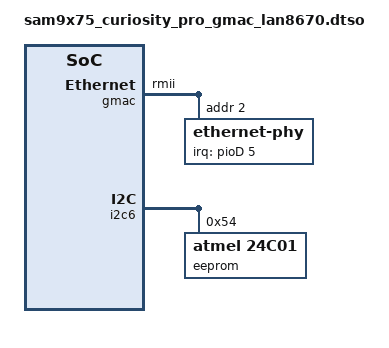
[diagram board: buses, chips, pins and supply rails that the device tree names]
// SPDX-License-Identifier: (GPL-2.0+ OR MIT)
/*
 * Device Tree file for SAM9X75 CURIOSITY PRO board overlay for the LAN8670
 * 10BaseT1S PHY Daughter Card.
 *
 * Copyright (C) 2026 Microchip Technology Inc. and its subsidiaries
 *
 * Author: Ryan Wanner <ryan.wanner@microchip.com>
 *
 * Refer to the EV39N38A (LAN8670-EDS2 daughter card)
 *
 */
/dts-v1/;
/plugin/;

#include <dt-bindings/gpio/gpio.h>
#include <dt-bindings/interrupt-controller/irq.h>
#include <dt-bindings/mfd/atmel-flexcom.h>
#include <dt-bindings/pinctrl/at91.h>


&gmac {
	phy-mode = "rmii";
	#address-cells = <1>;
	#size-cells = <0>;
	pinctrl-names = "default";
	pinctrl-0 = <&pinctrl_gmac_rmii_default>;
	cdns,refclk-ext;
	status = "okay";

	ethernet-phy@2 {
		reg = <0x2>;
		interrupt-parent = <&pioD>;
		interrupts = <5 IRQ_TYPE_LEVEL_LOW>;
		status = "okay";
	};
};

&i2c6 {
	eeprom@54 {
		compatible = "atmel,24c01";
		reg = <0x54>;
		pagesize = <8>;
		status = "okay";
	};
};

&pinctrl {
	gmac {
		pinctrl_gmac_rmii_default: gmac-rmii-default {
			atmel,pins =
			       <AT91_PIOB 13 AT91_PERIPH_A  AT91_PINCTRL_SLEWRATE_DIS			       /* ETH_TX0   */
				AT91_PIOB 14 AT91_PERIPH_A  AT91_PINCTRL_SLEWRATE_DIS			       /* ETH_TX1   */
				AT91_PIOB 7  AT91_PERIPH_A  AT91_PINCTRL_SLEWRATE_DIS			       /* ETH_TXEN  */
				AT91_PIOB 6  AT91_PERIPH_A  (AT91_PINCTRL_SLEWRATE_DIS | AT91_PINCTRL_DIS_SCHMIT)	/* ETH_TXCK (REFCLK) */
				AT91_PIOB 11 AT91_PERIPH_A  AT91_PINCTRL_SLEWRATE_DIS			       /* ETH_RX0   */
				AT91_PIOB 12 AT91_PERIPH_A  AT91_PINCTRL_SLEWRATE_DIS			       /* ETH_RX1   */
				AT91_PIOB 0  AT91_PERIPH_C  AT91_PINCTRL_PULL_DOWN			       /* ETH_RXER in RMII  */
				AT91_PIOB 3  AT91_PERIPH_A  AT91_PINCTRL_SLEWRATE_DIS			       /* ETH_RXDV */
				AT91_PIOB 10 AT91_PERIPH_A  AT91_PINCTRL_NONE				       /* ETH_MDC   */
				AT91_PIOB 9  AT91_PERIPH_A  AT91_PINCTRL_NONE				       /* ETH_MDIO  */
				AT91_PIOD 5  AT91_PERIPH_GPIO  AT91_PINCTRL_NONE>;			       /* ETH_INT   */
		};
	};
};

&{/} {
	model = "SAM9X75-Curiosity-Pro: LAN8670 (10Base-T1S) PHY Daughter Card";
};
